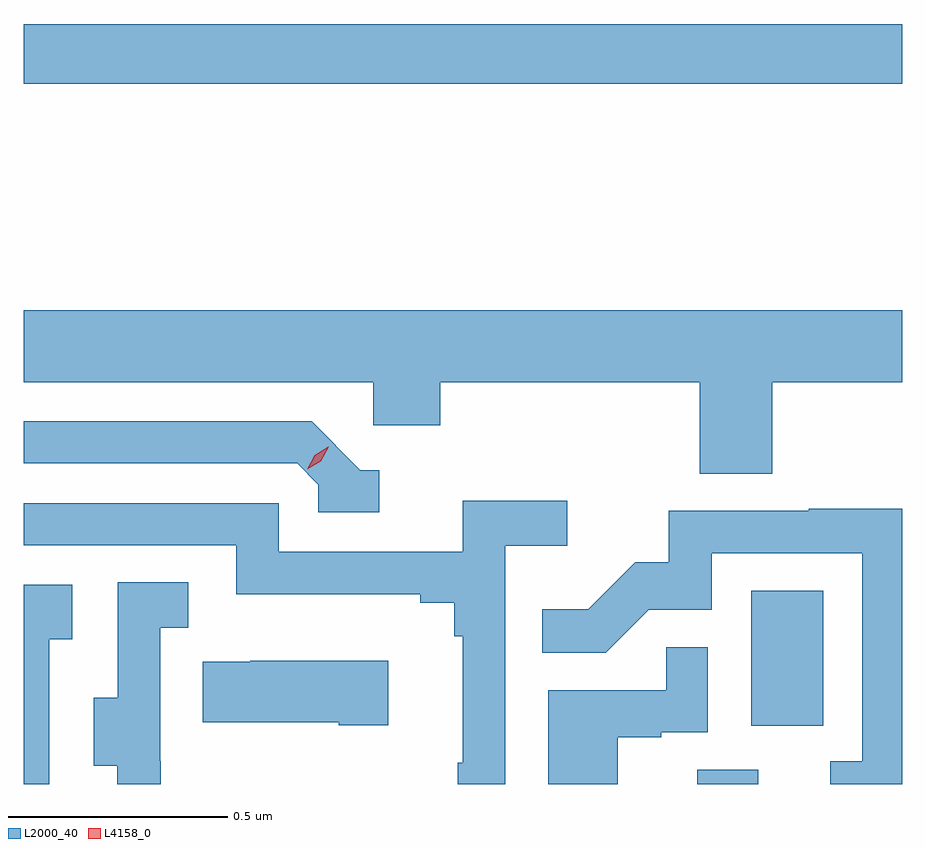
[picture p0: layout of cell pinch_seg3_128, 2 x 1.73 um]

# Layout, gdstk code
import gdstk
lib = gdstk.Library(unit=1e-6, precision=1e-09)
def R(c, l, rs):  # rectangles x0, y0, x1, y1
    for r in rs: c.add(gdstk.rectangle(r[:2], r[2:], *l))
def P(c, l, *ps):  # polygons
    for p in ps: c.add(gdstk.Polygon(p, *l))
L2000_40 = (2000, 40)
L4158_0 = (4158, 0)

pinch_seg3_128 = lib.new_cell('pinch_seg3_128')
R(pinch_seg3_128, L2000_40, [(1118.729,713.321,1118.869,713.354), (1118.852,713.454,1119.016,713.761), (1117.196,714.916,1119.196,715.052)])
P(pinch_seg3_128, L2000_40, [(1118.9,714.236),(1119.196,714.236),(1119.196,714.4),(1117.196,714.4),(1117.196,714.236),(1117.992,714.236),(1117.992,714.138),(1118.144,714.138),(1118.144,714.236),(1118.735,714.236),(1118.735,714.028),(1118.9,714.028)],
  [(1118.005,714.036),(1117.962,714.036),(1117.851,714.147),(1117.196,714.147),(1117.196,714.051),(1117.818,714.051),(1117.866,714.003),(1117.866,713.94),(1118.005,713.94)],
  [(1118.292,713.864),(1118.434,713.864),(1118.434,713.966),(1118.195,713.966),(1118.195,713.85),(1117.776,713.85),(1117.776,713.961),(1117.196,713.961),(1117.196,713.865),(1117.68,713.865),(1117.68,713.753),(1118.099,713.753),(1118.099,713.734),(1118.176,713.734),(1118.176,713.657),(1118.195,713.657),(1118.195,713.369),(1118.184,713.369),(1118.184,713.321),(1118.292,713.321)],
  [(1119.196,713.948),(1118.983,713.948),(1118.983,713.943),(1118.665,713.943),(1118.665,713.826),(1118.588,713.826),(1118.481,713.719),(1118.377,713.719),(1118.377,713.62),(1118.521,713.62),(1118.619,713.718),(1118.763,713.718),(1118.763,713.847),(1119.105,713.847),(1119.105,713.373),(1119.033,713.373),(1119.033,713.321),(1119.196,713.321)],
  [(1117.508,713.373),(1117.506,713.373),(1117.506,713.677),(1117.57,713.677),(1117.57,713.78),(1117.41,713.78),(1117.41,713.517),(1117.355,713.517),(1117.355,713.362),(1117.409,713.362),(1117.409,713.321),(1117.508,713.321)],
  [(1117.254,713.651),(1117.306,713.651),(1117.306,713.775),(1117.196,713.775),(1117.196,713.321),(1117.254,713.321)],
  [(1118.548,713.427),(1118.648,713.427),(1118.648,713.439),(1118.754,713.439),(1118.754,713.633),(1118.659,713.633),(1118.659,713.535),(1118.39,713.535),(1118.39,713.321),(1118.548,713.321)],
  [(1118.026,713.602),(1117.711,713.602),(1117.711,713.599),(1117.603,713.599),(1117.603,713.462),(1117.913,713.462),(1117.913,713.455),(1118.026,713.455)])
P(pinch_seg3_128, L4158_0, [(1117.841,714.038),(1117.841,714.038),(1117.858,714.07),(1117.889,714.089),(1117.89,714.089),(1117.89,714.089),(1117.872,714.056),(1117.841,714.038)])

lib.write_gds('pinch_seg3_128.gds')
